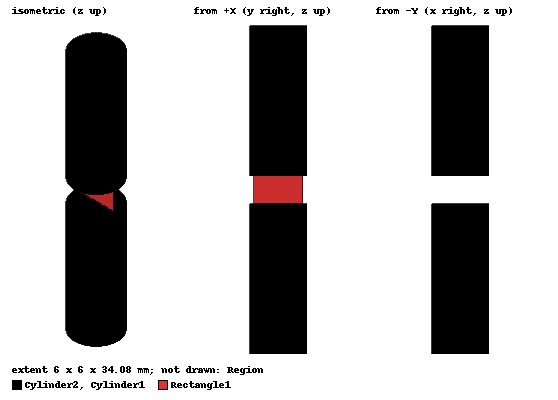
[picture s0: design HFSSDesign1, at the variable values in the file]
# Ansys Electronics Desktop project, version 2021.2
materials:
  vacuum: permittivity=1
  pec: conductivity=1e+30
  air: permittivity=1.0006 permeability=1.0000004
  copper: permeability=0.999991 conductivity=58000000

design HFSSDesign1 (HFSS, DrivenModal, model units mm)
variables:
  raio = 1.5mm
  dipolo = -21mm
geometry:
  Cylinder1 [copper] = cylinder(axis=Z, base_centre=(0mm, 0mm, -1.5mm), radius=2*raio, height=dipolo- (26*dipolo/100))
  Rectangle1 = rectangle(corner=(0mm, -2.5mm, -1.5mm), y_size=5mm, z_size=3mm)
  Region [air] = region(absolute_offset=85mm on all sides)
  Cylinder2 [copper] = cylinder(axis=Z, base_centre=(0mm, 0mm, 1.5mm), radius=2*raio, height=-dipolo+(26*dipolo/100))
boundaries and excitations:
  Rad1: Radiation Objects=Region
  1: Lumped Port Objects=Rectangle1 Modes{Mode1{IntLine{middle of Rectangle1.edge(z opposite corner) -> middle of Rectangle1.edge(z at corner)} CharImp=Zpi}} Impedance=50ohm
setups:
  Setup1: HfssDriven Frequency=3.5GHz MaxDeltaS=0.02 MaximumPasses=6 MinimumPasses=1 MinimumConvergedPasses=1 PercentRefinement=30 BasisOrder=1 PortAccuracy=2
    sweep Sweep: 1.75GHz to 5.25GHz, 401 points; Type=Interpolating InterpTolerance=0.5 InterpMaxSolns=250 InterpUsePortImped=false PassivityErrorTolerance=0.0001
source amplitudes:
  1:1: 1W 0deg
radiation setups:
  Infinite Sphere1: Infinite Sphere Theta=0deg..180deg step 2deg Phi=-180deg..180deg step 2deg
  E: Infinite Sphere Theta=-180deg..180deg step 1deg Phi=0deg..0deg step 0deg
  H: Infinite Sphere Theta=90deg..90deg step 0deg Phi=0deg..360deg step 1deg
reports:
  S Parameter Plot 1: dB(S(1,1)) vs Freq on Setup1 : Sweep
  Gain Plot 1: dB(GainTotal) vs Phi, Theta on Setup1 : LastAdaptive, Infinite Sphere1 [Freq=3.5GHz]
  Gain Plot 3: dB(GainTotal) vs Phi on Setup1 : LastAdaptive, H [Theta=all Freq=3.5GHz]; dB(GainTotal) vs Theta on Setup1 : LastAdaptive, E [Phi=all Freq=3.5GHz]
  S Parameter Plot 2: dB(S(1,1)) vs Freq on Setup1 : Sweep; markers m1 at 3.19375GHz, m2 at 3.70125GHz
  S Parameter Plot 3: dB(S(1,1)) vs Freq on Setup1 : Sweep; markers m1 at 3.17625GHz, m2 at 4.095GHz
